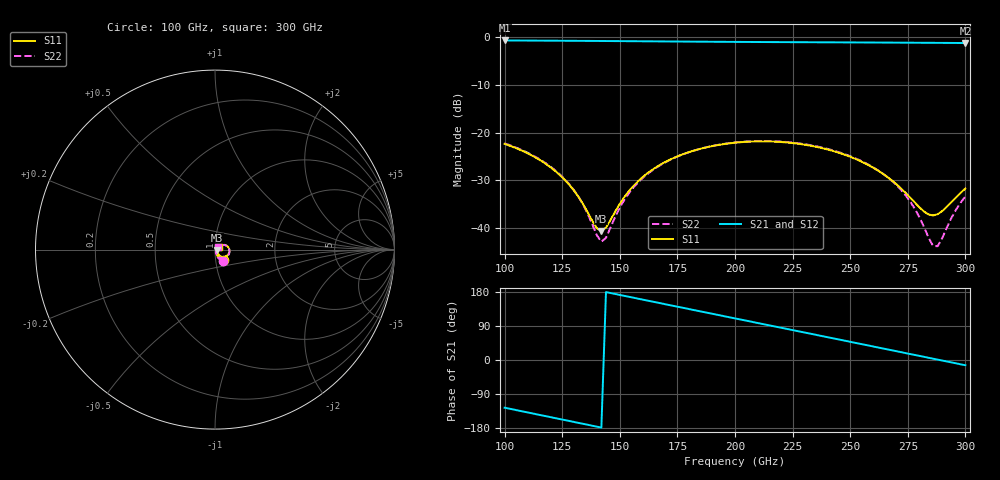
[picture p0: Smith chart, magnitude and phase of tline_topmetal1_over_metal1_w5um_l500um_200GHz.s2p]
#  GHZ S DB R 50
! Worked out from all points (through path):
!   101 points, 100 GHz to 300 GHz, reference 50 ohm
!   highest |S21| = -0.69 dB at 100 GHz (marker M1); lowest = -1.2 dB at 300 GHz (marker M2)
!   group delay of S21, straight-line fit = 3.44 ps
!   lowest |S11| = -40.6 dB at 142 GHz (marker M3), VSWR 1.02, Z = 50.9 - j0.226 ohm
!   |S11| at or under -10 dB: start of sweep to end of sweep
!   |S22| runs from -43.8 to -21.7 dB; largest |S21 - S12| = 1e-13
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100  -22.35 -50.9  -0.69 -125.9  -0.69 -125.9  -22.23 -53.4
120  -27.27 -67.8  -0.73 -150.9  -0.73 -150.9  -27.14 -72.2
128  -30.87 -70.3  -0.76 -160.9  -0.76 -160.9  -30.76 -76.4
134  -34.91 -64.8  -0.77 -168.4  -0.77 -168.4  -34.99 -73.9
140  -39.99 -34.3  -0.79 -175.8  -0.79 -175.8  -41.46 -46.5
142  -40.61 -13.8  -0.80 -178.3  -0.80 -178.3  -42.85 -21.3
144  -39.85 6.2  -0.80 179.2  -0.80 179.2  -42.02 5.7
150  -34.90 34.6  -0.82 171.7  -0.82 171.7  -35.67 37.8
154  -32.20 39.0  -0.84 166.7  -0.84 166.7  -32.64 41.1
160  -29.26 38.9  -0.86 159.3  -0.86 159.3  -29.48 39.7
168  -26.59 34.1  -0.89 149.4  -0.89 149.4  -26.68 33.9
182  -23.78 21.8  -0.93 132.0  -0.93 132.0  -23.78 20.3
200  -22.10 3.7  -0.99 109.8  -0.99 109.8  -22.05 1.0
216  -21.86 -12.9  -1.03 90.1  -1.03 90.1  -21.77 -16.7
234  -22.84 -31.2  -1.06 67.8  -1.06 67.8  -22.73 -36.7
254  -25.86 -48.8  -1.10 43.1  -1.10 43.1  -25.74 -57.8
268  -29.97 -54.6  -1.14 25.7  -1.14 25.7  -30.05 -69.6
278  -34.60 -44.3  -1.16 13.4  -1.16 13.4  -35.90 -69.7
286  -37.33 -9.1  -1.18 3.4  -1.18 3.4  -43.75 -26.9
288  -37.06 1.9  -1.19 1.0  -1.19 1.0  -43.77 -0.1
294  -34.51 24.6  -1.21 -6.4  -1.21 -6.4  -37.80 39.3
300  -31.69 32.7  -1.22 -13.9  -1.22 -13.9  -33.35 44.5
